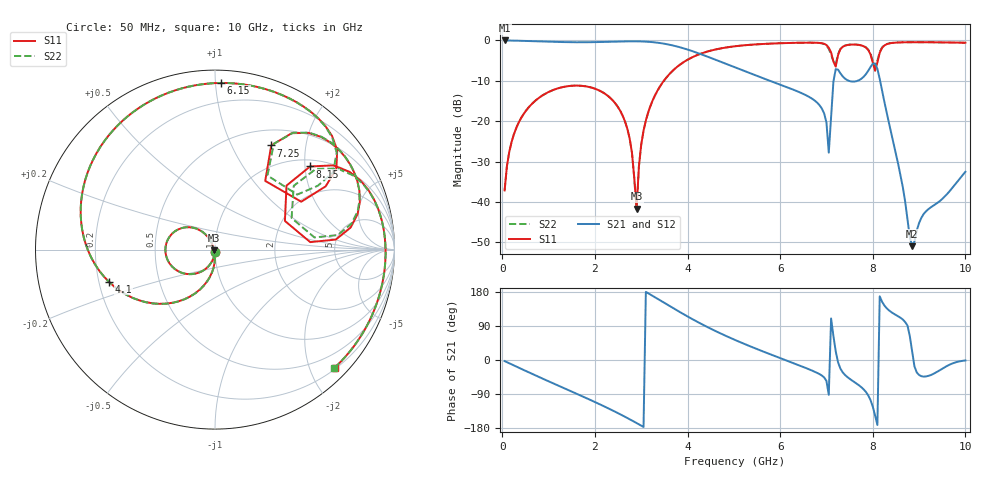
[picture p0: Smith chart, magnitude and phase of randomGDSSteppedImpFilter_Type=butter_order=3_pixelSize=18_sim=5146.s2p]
! freq	dB(S11)	phase(S11)	dB(S12)	phase(S12)
!  dB(S21)	phase(S21)	dB(S22)	phase(S22)
!S-par simulation data
#  GHz  S  DB  R 50
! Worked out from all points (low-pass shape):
!   200 points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, 50 MHz to 10 GHz, reference 50 ohm
!   highest |S21| = 0.00 dB at 50 MHz (marker M1); lowest = -50.9 dB at 8.85 GHz (marker M2)
!   |S21| within 3 dB of the highest: start of sweep to 4.194 GHz
!   lowest |S11| = -41.6 dB at 2.9 GHz (marker M3), VSWR 1.02, Z = 49.3 - j0.417 ohm
!   |S11| at or under -10 dB: start of sweep to 3.489 GHz
!   |S22| runs from -42.3 to -0.4 dB; largest |S21 - S12| = 0
!   S11 on the Smith chart (normalised r, x): 50 MHz: 1.00, -0.03; 4.1 GHz: 0.24, -0.14; 6.15 GHz: 0.08, +1.04; 7.25 GHz: 0.70, +1.44; 8.15 GHz: 1.16, +2.13; 10 GHz: 0.23, -2.42
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0.05  -37.12 -92.7  -0.00 -2.9  -0.00 -2.9  -37.12 -92.7
0.2  -25.14 -101.7  -0.03 -11.5  -0.03 -11.5  -25.14 -101.7
0.5  -17.56 -119.1  -0.12 -28.5  -0.12 -28.5  -17.56 -119.1
1.75  -11.27 172.5  -0.45 -97.0  -0.45 -97.0  -11.27 172.5
2.6  -18.64 124.8  -0.24 -146.6  -0.24 -146.6  -18.64 124.4
2.8  -27.78 117.2  -0.21 -159.6  -0.21 -159.6  -27.80 116.1
2.9  -41.62 -149.4  -0.22 -166.4  -0.22 -166.4  -42.31 -149.1
3.05  -22.34 -92.4  -0.27 -176.7  -0.27 -176.7  -22.35 -91.8
3.4  -11.48 -114.3  -0.63 158.1  -0.63 158.1  -11.48 -114.2
4.1  -4.17 -163.2  -2.63 108.1  -2.63 108.1  -4.17 -163.2
5.05  -1.40 141.0  -6.79 51.6  -6.79 51.6  -1.40 141.0
6.15  -0.64 87.9  -11.58 -2.0  -11.58 -2.0  -0.64 87.9
6.7  -0.55 61.0  -14.50 -28.5  -14.50 -28.5  -0.55 61.0
6.95  -0.83 44.2  -18.06 -45.9  -18.06 -45.9  -0.88 43.7
7.05  -1.80 33.7  -27.77 -92.0  -27.77 -92.0  -2.10 33.2
7.15  -5.20 29.0  -10.20 63.5  -10.20 63.5  -5.17 33.8
7.25  -3.62 61.6  -7.23 -6.1  -7.23 -6.1  -3.42 60.9
7.95  -3.41 4.7  -6.60 -105.3  -6.60 -105.3  -3.24 6.7
8.15  -3.05 41.2  -9.52 168.1  -9.52 168.1  -2.85 38.6
8.35  -0.76 21.4  -20.46 131.0  -20.46 131.0  -0.73 20.2
8.85  -0.44 -4.0  -50.91 23.2  -50.91 23.2  -0.43 -4.6
10  -0.57 -44.6  -32.51 -1.2  -32.51 -1.2  -0.57 -45.0
